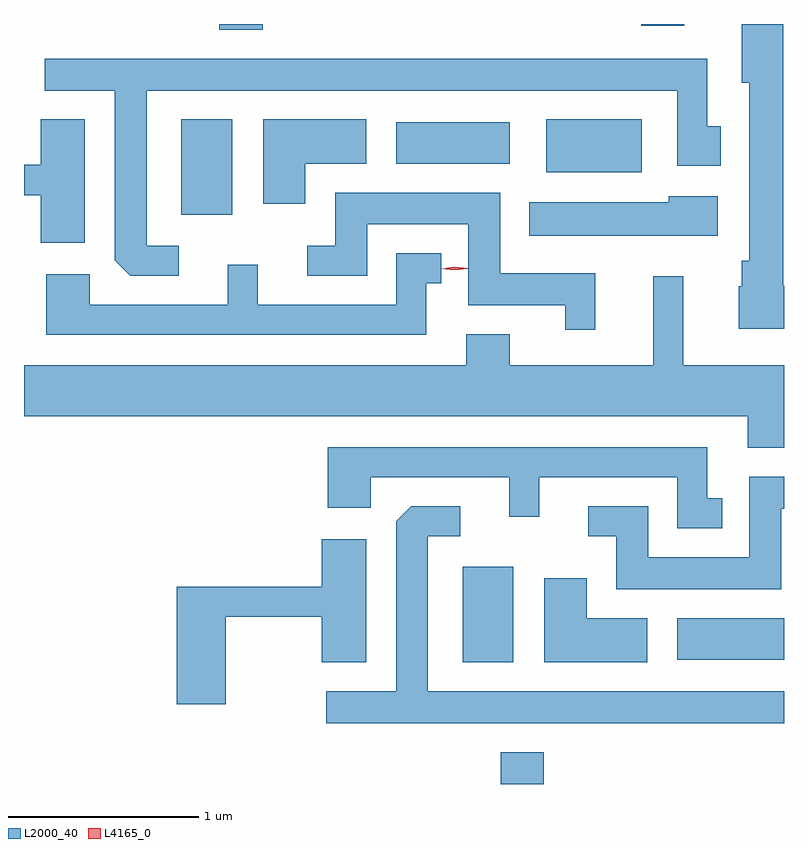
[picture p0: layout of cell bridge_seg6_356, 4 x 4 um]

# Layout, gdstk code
import gdstk
lib = gdstk.Library(unit=1e-6, precision=1e-09)
def R(c, l, rs):  # rectangles x0, y0, x1, y1
    for r in rs: c.add(gdstk.rectangle(r[:2], r[2:], *l))
def P(c, l, *ps):  # polygons
    for p in ps: c.add(gdstk.Polygon(p, *l))
L2000_40 = (2000, 40)
L4165_0 = (4165, 0)

bridge_seg6_356 = lib.new_cell('bridge_seg6_356')
R(bridge_seg6_356, L2000_40, [(943.651,1614.701,943.879,1614.869), (943.451,1615.341,943.719,1615.844), (944.581,1615.356,945.143,1615.574), (941.971,1617.696,942.239,1618.199), (943.891,1617.921,944.394,1618.199), (943.101,1617.966,943.699,1618.184), (942.171,1618.671,942.399,1618.701), (944.391,1618.691,944.619,1618.701)])
P(bridge_seg6_356, L2000_40, [(945.143,1617.324),(945.139,1617.324),(945.139,1618.701),(944.921,1618.701),(944.921,1618.391),(944.961,1618.391),(944.961,1617.454),(944.921,1617.454),(944.921,1617.32),(944.906,1617.32),(944.906,1617.096),(945.143,1617.096)],
  [(941.958,1617.534),(941.789,1617.534),(941.789,1618.351),(944.581,1618.351),(944.581,1617.956),(944.809,1617.956),(944.809,1618.164),(944.739,1618.164),(944.739,1618.519),(941.253,1618.519),(941.253,1618.351),(941.621,1618.351),(941.621,1617.457),(941.702,1617.376),(941.958,1617.376)],
  [(941.464,1618.199),(941.231,1618.199),(941.231,1617.959),(941.143,1617.959),(941.143,1617.801),(941.231,1617.801),(941.231,1617.551),(941.464,1617.551)],
  [(942.624,1617.966),(942.944,1617.966),(942.944,1618.199),(942.401,1618.199),(942.401,1617.756),(942.624,1617.756)],
  [(944.149,1617.389),(943.649,1617.389),(943.649,1617.814),(942.781,1617.814),(942.781,1617.534),(942.633,1617.534),(942.633,1617.376),(942.949,1617.376),(942.949,1617.646),(943.481,1617.646),(943.481,1617.221),(943.991,1617.221),(943.991,1617.093),(944.149,1617.093)],
  [(944.794,1617.794),(944.536,1617.794),(944.536,1617.764),(943.801,1617.764),(943.801,1617.586),(944.794,1617.586)],
  [(943.259,1617.336),(943.338,1617.336),(943.338,1617.494),(943.101,1617.494),(943.101,1617.224),(942.374,1617.224),(942.374,1617.433),(942.216,1617.433),(942.216,1617.224),(941.489,1617.224),(941.489,1617.384),(941.261,1617.384),(941.261,1617.066),(943.259,1617.066)],
  [(945.143,1616.904),(944.614,1616.904),(944.614,1617.373),(944.456,1617.373),(944.456,1616.904),(943.699,1616.904),(943.699,1617.069),(943.471,1617.069),(943.471,1616.904),(941.143,1616.904),(941.143,1616.636),(944.951,1616.636),(944.951,1616.471),(945.143,1616.471)],
  [(944.818,1616.204),(944.739,1616.204),(944.739,1616.474),(942.741,1616.474),(942.741,1616.156),(942.969,1616.156),(942.969,1616.316),(943.696,1616.316),(943.696,1616.108),(943.854,1616.108),(943.854,1616.316),(944.581,1616.316),(944.581,1616.046),(944.818,1616.046)],
  [(945.129,1616.151),(945.143,1616.151),(945.143,1616.319),(944.961,1616.319),(944.961,1615.894),(944.429,1615.894),(944.429,1616.164),(944.113,1616.164),(944.113,1616.006),(944.261,1616.006),(944.261,1615.726),(945.129,1615.726)],
  [(945.143,1615.189),(943.269,1615.189),(943.269,1616.006),(943.438,1616.006),(943.438,1616.164),(943.182,1616.164),(943.101,1616.084),(943.101,1615.189),(942.733,1615.189),(942.733,1615.021),(945.143,1615.021)],
  [(942.204,1615.581),(942.711,1615.581),(942.711,1615.341),(942.944,1615.341),(942.944,1615.989),(942.711,1615.989),(942.711,1615.739),(941.946,1615.739),(941.946,1615.121),(942.204,1615.121)],
  [(944.424,1615.574),(944.104,1615.574),(944.104,1615.784),(943.881,1615.784),(943.881,1615.341),(944.424,1615.341)])
P(bridge_seg6_356, L4165_0, [(943.408,1617.404),(943.339,1617.413),(943.339,1617.414),(943.339,1617.414),(943.408,1617.424),(943.478,1617.415),(943.478,1617.414),(943.478,1617.414)])

lib.write_gds('bridge_seg6_356.gds')
